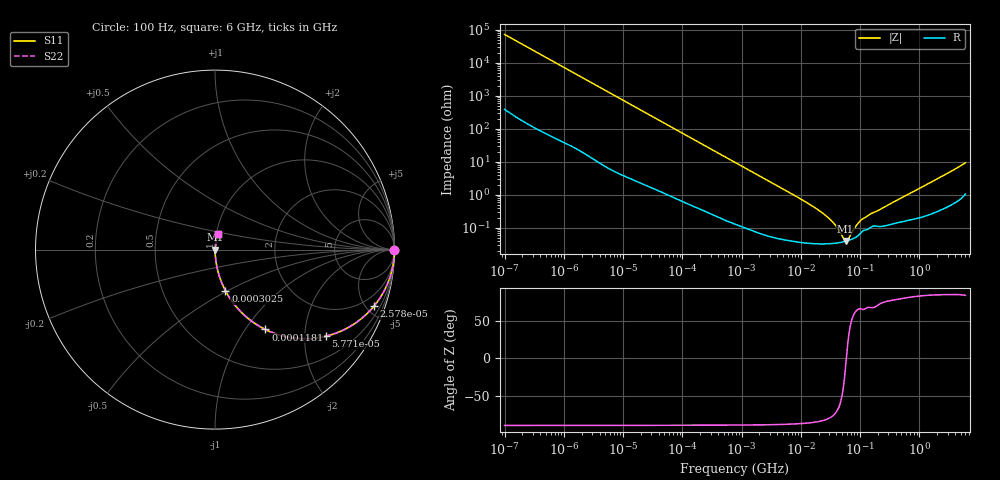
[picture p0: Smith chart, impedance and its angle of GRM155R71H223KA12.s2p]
!Murata Part Number: GRM155R71H223KA12
!These Parameters are Measured in Series Mode Connection
!Data Generated on Mar 30, 2021
!  o--ll--o
!Port1  Port2
!  o------o
!Operation Temp=25[degC], DC Bias Voltage=0[V]
!Freq. Start=100[Hz] Stop=6[GHz] 401[Steps]
# Hz S RI R 50
!Freq.(Hz) S11(Real) S11(Imag) S21(Real) S21(Imag) S12(Real) S12(Imag) S22(Real) S22(Imag)
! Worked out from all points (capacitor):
!   401 points, 100 Hz to 6 GHz, reference 50 ohm
!   read as one part in series: C = 22.2 nF near 109 Hz
!   lowest |Z| = 39.2 mohm at 56.99 MHz (marker M1)
!   series resonance near 58.74 MHz, so ESL is about 330 pH
!   S11 on the Smith chart (normalised r, x): 100 Hz: open; 25.78 kHz: 1.04, -5.66; 57.71 kHz: 1.02, -2.54; 118.1 kHz: 1.01, -1.24; 302.5 kHz: 1.01, -0.49; 6 GHz: 1.02, +0.18
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100  1 -0.00139  9.4e-06 0.00139  9.4e-06 0.00139  1 -0.00139
2008  0.9991 -0.0277  0.000921 0.0277  0.000921 0.0277  0.9991 -0.0277
8416  0.9862 -0.1141  0.0138 0.1141  0.0138 0.1141  0.9862 -0.1141
25777  0.8874 -0.3129  0.1126 0.3129  0.1126 0.3129  0.8874 -0.3129
40335  0.7649 -0.4205  0.2351 0.4205  0.2351 0.4205  0.7649 -0.4205
57709  0.6159 -0.4826  0.3841 0.4826  0.3841 0.4826  0.6159 -0.4826
82567  0.4414 -0.4925  0.5586 0.4925  0.5586 0.4925  0.4414 -0.4925
118133  0.2806 -0.4449  0.7194 0.4449  0.7194 0.4449  0.2806 -0.4449
184852  0.1394 -0.3415  0.8606 0.3415  0.8606 0.3415  0.1394 -0.3415
302498  0.0584 -0.2293  0.9416 0.2293  0.9416 0.2293  0.0584 -0.2293
774597  0.0104 -0.0948  0.9896 0.0948  0.9896 0.0948  0.0104 -0.0948
2481164  0.0015 -0.0301  0.9985 0.0301  0.9985 0.0301  0.0015 -0.0301
1.555665e7  0.000349 -0.00453  0.9997 0.00453  0.9997 0.00453  0.000349 -0.00453
3.330331e7  0.000331 -0.00155  0.9997 0.00155  0.9997 0.00155  0.000331 -0.00155
4.165952e7  0.000344 -0.000905  0.9997 0.000905  0.9997 0.000905  0.000344 -0.000905
5.211241e7  0.00037 -0.000309  0.9996 0.000309  0.9996 0.000309  0.00037 -0.000309
5.699437e7  0.000385 -7.76e-05  0.9996 7.76e-05  0.9996 7.76e-05  0.000385 -7.76e-05
6.233367e7  0.000403 0.000154  0.9996 -0.000154  0.9996 -0.000154  0.000403 0.000154
8.527865e7  0.000516 0.000989  0.9995 -0.000989  0.9995 -0.000989  0.000516 0.000989
1.066761e8  0.000741 0.0016  0.9993 -0.0016  0.9993 -0.0016  0.000741 0.0016
3.124326e8  0.00124 0.00496  0.9988 -0.00496  0.9988 -0.00496  0.00124 0.00496
6e9  0.0185 0.0895  0.9815 -0.0895  0.9815 -0.0895  0.0185 0.0895
